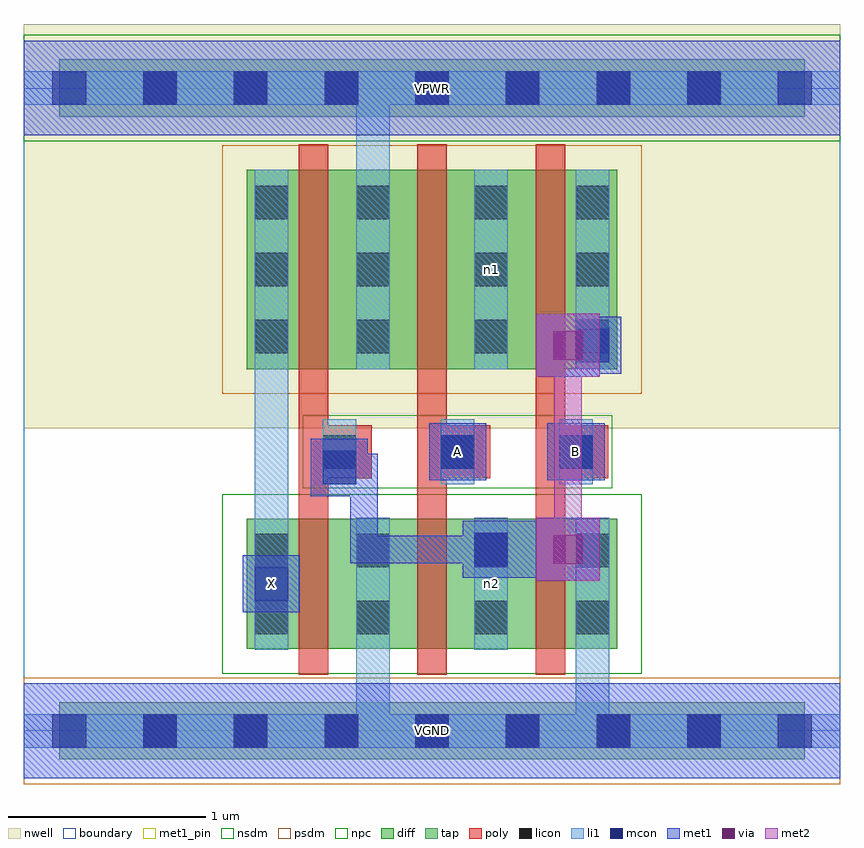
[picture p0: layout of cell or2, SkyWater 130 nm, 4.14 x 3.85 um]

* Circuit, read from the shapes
.subckt or2 A B VGND VPWR X n1 n2
XM1 VGND n2 X VGND sky130_fd_pr__nfet_01v8 w=0.66 l=0.15
XM2 n2 A VGND VGND sky130_fd_pr__nfet_01v8 w=0.66 l=0.15
XM3 VGND B n2 VGND sky130_fd_pr__nfet_01v8 w=0.66 l=0.15
XM4 VPWR n2 X VPWR sky130_fd_pr__pfet_01v8 w=1.01 l=0.15
XM5 n1 A VPWR VPWR sky130_fd_pr__pfet_01v8 w=1.01 l=0.15
XM6 n2 B n1 VPWR sky130_fd_pr__pfet_01v8 w=1.01 l=0.15
.ends

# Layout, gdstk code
import gdstk
lib = gdstk.Library(unit=1e-6, precision=1e-09)
def R(c, l, rs):  # rectangles x0, y0, x1, y1
    for r in rs: c.add(gdstk.rectangle(r[:2], r[2:], *l))
def A(c, l, x, y, w, h, nx, ny, dx, dy):  # array of equal rectangles
    R(c, l, [(x+i*dx, y+j*dy, x+i*dx+w, y+j*dy+h) for i in range(nx) for j in range(ny)])
nwell = (64, 20)
diff = (65, 20)
tap = (65, 44)
poly = (66, 20)
licon = (66, 44)
li1 = (67, 20)
mcon = (67, 44)
met1_pin = (68, 16)
met1 = (68, 20)
via = (68, 44)
met2 = (69, 20)
nsdm = (93, 44)
psdm = (94, 20)
npc = (95, 20)
boundary = (235, 4)

or2 = lib.new_cell('or2')
R(or2, nwell, [(0,1.535,4.14,3.585)])
R(or2, diff, [(1.13,0.415,3.01,1.075), (1.13,1.835,3.01,2.845)])
R(or2, tap, [(0.18,-0.145,3.96,0.145), (0.18,3.115,3.96,3.405)])
A(or2, poly, 1.395, 0.285, 0.15, 2.69, 3, 1, 0.6, 0)
A(or2, poly, 1.435, 1.28, 0.33, 0.27, 3, 1, 0.6, 0)
A(or2, licon, 0.605, -0.085, 0.17, 0.17, 7, 2, 0.46, 3.26)
A(or2, licon, 1.515, 1.33, 0.17, 0.17, 3, 1, 0.6, 0)
A(or2, licon, 1.17, 1.915, 0.17, 0.17, 1, 3, 0, 0.34)
A(or2, licon, 1.685, 1.915, 0.17, 0.17, 1, 3, 0, 0.34)
A(or2, licon, 2.285, 1.915, 0.17, 0.17, 1, 3, 0, 0.34)
A(or2, licon, 2.8, 1.915, 0.17, 0.17, 1, 3, 0, 0.34)
R(or2, licon, [(1.17,0.49,1.34,0.66), (1.685,0.49,1.855,0.66), (2.285,0.49,2.455,0.66), (2.8,0.49,2.97,0.66), (1.17,0.83,1.34,1), (1.685,0.83,1.855,1), (2.285,0.83,2.455,1), (2.8,0.83,2.97,1)])
A(or2, li1, 1.515, 1.25, 0.17, 0.33, 3, 1, 0.6, 0)
R(or2, li1, [(0,-0.085,4.14,0.085), (1.685,-0.085,1.855,1.08), (2.8,-0.085,2.97,1.08), (1.17,0.41,1.34,1.08), (1.17,0.41,1.34,2.845), (1.685,0.41,1.855,1.08), (2.285,0.41,2.455,1.08), (2.8,0.41,2.97,1.08), (1.17,1.835,1.34,2.845), (1.685,1.835,1.855,2.845), (1.685,1.835,1.855,3.345), (2.285,1.835,2.455,2.845), (2.8,1.835,2.97,2.845), (0,3.175,4.14,3.345)])
A(or2, mcon, 0.145, -0.085, 0.17, 0.17, 9, 2, 0.46, 3.26)
R(or2, mcon, [(1.17,0.66,1.34,0.83), (2.285,0.835,2.455,1.005), (1.515,1.25,1.685,1.42), (2.115,1.33,2.285,1.5), (2.715,1.33,2.885,1.5), (2.8,1.87,2.97,2.04)])
R(or2, met1_pin, [(0,-0.24,4.14,0.24), (1.11,0.6,1.4,0.89), (2.055,1.27,2.345,1.56), (2.655,1.27,2.945,1.56), (0,3.02,4.14,3.5)])
R(or2, met1, [(0,-0.24,4.14,0.24), (1.11,0.6,1.4,0.89), (2.6,0.76,2.92,1.08), (2.225,0.775,2.515,1.065), (2.515,0.775,2.6,1.065), (1.655,0.85,1.795,1.22), (1.655,0.85,2.255,0.99), (2.115,0.85,2.44,0.99), (2.115,0.85,2.83,0.99), (1.655,1.08,1.795,1.405), (1.455,1.19,1.745,1.48), (1.53,1.265,1.795,1.405), (2.055,1.27,2.345,1.56), (2.655,1.27,2.945,1.56), (2.6,1.795,2.92,2.115), (2.74,1.81,3.03,2.1), (2.69,1.885,2.955,2.025), (0,3.02,4.14,3.5)])
R(or2, via, [(2.685,0.845,2.835,0.995), (2.685,1.88,2.835,2.03)])
R(or2, met2, [(2.6,0.76,2.92,1.08), (2.69,0.85,2.83,2.025), (2.6,1.795,2.92,2.115)])
R(or2, nsdm, [(1.005,0.29,3.135,1.2), (0,2.99,4.14,3.53)])
R(or2, psdm, [(0,-0.27,4.14,0.27), (1.005,1.71,3.135,2.97)])
R(or2, npc, [(1.415,1.23,2.985,1.6)])
R(or2, boundary, [(0,0,4.14,3.26)])
or2.add(gdstk.Label('n2', (2.37,0.745), layer=67, texttype=5))
or2.add(gdstk.Label('n1', (2.37,2.34), layer=67, texttype=5))
or2.add(gdstk.Label('A', (2.2,1.415), layer=68, texttype=5))
or2.add(gdstk.Label('B', (2.8,1.415), layer=68, texttype=5))
or2.add(gdstk.Label('X', (1.255,0.745), layer=68, texttype=5))
or2.add(gdstk.Label('VPWR', (2.07,3.26), layer=68, texttype=5))
or2.add(gdstk.Label('VGND', (2.07,0), layer=68, texttype=5))
or2.add(gdstk.Label('A', (2.2,1.415), layer=68, texttype=16))
or2.add(gdstk.Label('B', (2.8,1.415), layer=68, texttype=16))
or2.add(gdstk.Label('X', (1.255,0.745), layer=68, texttype=16))
or2.add(gdstk.Label('VPWR', (2.07,3.26), layer=68, texttype=16))
or2.add(gdstk.Label('VGND', (2.07,0), layer=68, texttype=16))

lib.write_gds('or2.gds')
